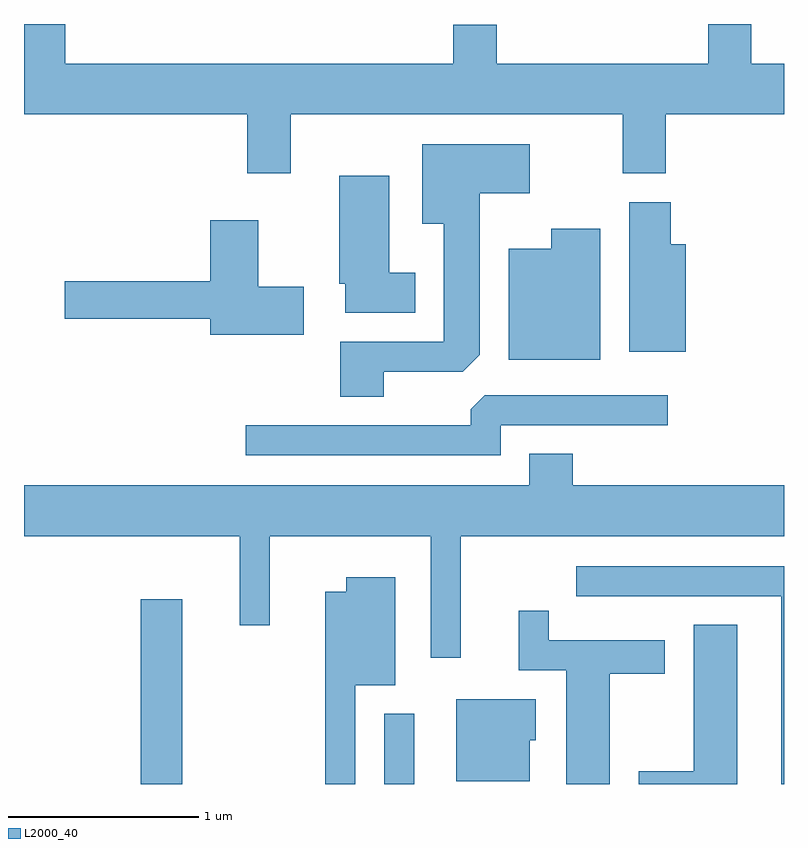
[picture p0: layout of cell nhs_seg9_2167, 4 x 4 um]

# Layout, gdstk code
import gdstk
lib = gdstk.Library(unit=1e-6, precision=1e-09)
def R(c, l, rs):  # rectangles x0, y0, x1, y1
    for r in rs: c.add(gdstk.rectangle(r[:2], r[2:], *l))
def P(c, l, *ps):  # polygons
    for p in ps: c.add(gdstk.Polygon(p, *l))
L2000_40 = (2000, 40)

nhs_seg9_2167 = lib.new_cell('nhs_seg9_2167')
R(nhs_seg9_2167, L2000_40, [(248.226,2070.432,248.444,2071.404), (249.506,2070.432,249.664,2070.803)])
P(nhs_seg9_2167, L2000_40, [(249.014,2073.956),(250.761,2073.956),(250.761,2073.646),(250.989,2073.646),(250.989,2073.956),(251.611,2073.956),(251.611,2074.224),(251.439,2074.224),(251.439,2074.432),(251.211,2074.432),(251.211,2074.224),(250.099,2074.224),(250.099,2074.429),(249.871,2074.429),(249.871,2074.224),(247.829,2074.224),(247.829,2074.432),(247.611,2074.432),(247.611,2073.956),(248.786,2073.956),(248.786,2073.646),(249.014,2073.646)],
  [(249.504,2072.601),(249.919,2072.601),(250.009,2072.692),(250.009,2073.541),(250.274,2073.541),(250.274,2073.799),(249.706,2073.799),(249.706,2073.381),(249.821,2073.381),(249.821,2072.759),(249.276,2072.759),(249.276,2072.471),(249.504,2072.471)],
  [(249.669,2073.124),(249.534,2073.124),(249.534,2073.634),(249.271,2073.634),(249.271,2073.066),(249.301,2073.066),(249.301,2072.911),(249.669,2072.911)],
  [(251.094,2073.274),(251.014,2073.274),(251.014,2073.494),(250.796,2073.494),(250.796,2072.706),(251.094,2072.706)],
  [(249.084,2073.049),(248.844,2073.049),(248.844,2073.399),(248.591,2073.399),(248.591,2073.079),(247.826,2073.079),(247.826,2072.881),(248.591,2072.881),(248.591,2072.796),(249.084,2072.796)],
  [(250.644,2073.354),(250.386,2073.354),(250.386,2073.249),(250.161,2073.249),(250.161,2072.666),(250.644,2072.666)],
  [(250.119,2072.321),(250.998,2072.321),(250.998,2072.479),(250.037,2072.479),(249.961,2072.404),(249.961,2072.319),(248.778,2072.319),(248.778,2072.161),(250.119,2072.161)],
  [(249.909,2071.736),(251.611,2071.736),(251.611,2072.004),(250.499,2072.004),(250.499,2072.169),(250.271,2072.169),(250.271,2072.004),(247.611,2072.004),(247.611,2071.736),(248.746,2071.736),(248.746,2071.268),(248.904,2071.268),(248.904,2071.736),(249.751,2071.736),(249.751,2071.097),(249.909,2071.097)],
  [(251.611,2071.579),(250.518,2071.579),(250.518,2071.421),(251.596,2071.421),(251.596,2070.432),(251.611,2070.432)],
  [(249.354,2070.951),(249.564,2070.951),(249.564,2071.519),(249.306,2071.519),(249.306,2071.444),(249.196,2071.444),(249.196,2070.432),(249.354,2070.432)],
  [(250.694,2071.011),(250.984,2071.011),(250.984,2071.189),(250.374,2071.189),(250.374,2071.343),(250.216,2071.343),(250.216,2071.031),(250.466,2071.031),(250.466,2070.432),(250.694,2070.432)],
  [(251.364,2071.269),(251.136,2071.269),(251.136,2070.499),(250.846,2070.499),(250.846,2070.432),(251.364,2070.432)],
  [(250.274,2070.661),(250.304,2070.661),(250.304,2070.879),(249.886,2070.879),(249.886,2070.446),(250.274,2070.446)])

lib.write_gds('nhs_seg9_2167.gds')
